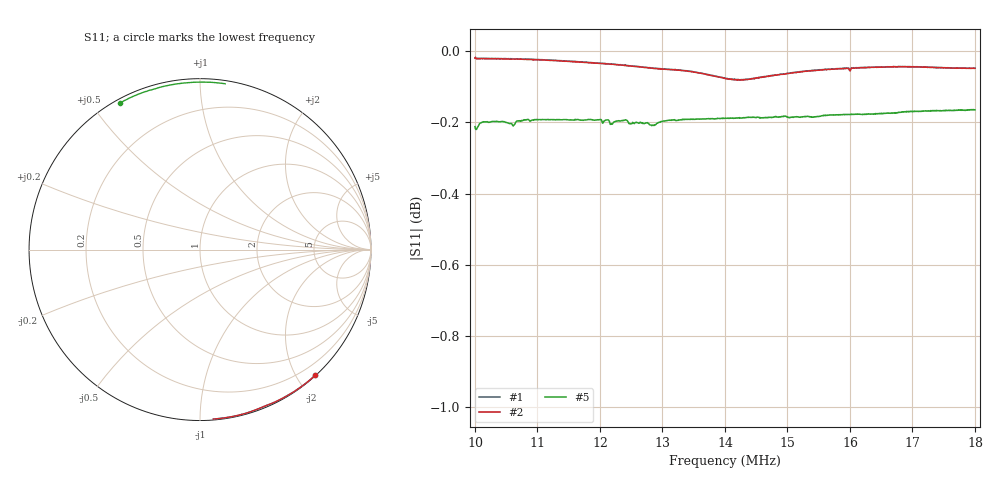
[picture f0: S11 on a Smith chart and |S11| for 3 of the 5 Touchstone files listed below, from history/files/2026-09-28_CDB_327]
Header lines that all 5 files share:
! NanoVNA Web complex sweep
! Processing: unaveraged complex samples; linear segment spacing; no smoothing
# Hz S RI R 50
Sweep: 10 MHz to 18 MHz
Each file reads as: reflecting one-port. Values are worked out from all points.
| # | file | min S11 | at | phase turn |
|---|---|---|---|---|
| 1 | 2026-09-29_CAPFREE_218_CD_10-18M_s1_nanovna-sweep-1790707894813.s1p | -0.1 dB | 14.24 MHz | -38 deg |
| 2 | 2026-09-29_CAPFREE_218_CD_10-18M_s2_nanovna-sweep-1790707910714.s1p | -0.1 dB | 14.19 MHz | -38 deg |
| 3 | 2026-09-29_CAPFREE_218_CD_10-18M_s3_nanovna-sweep-1790707921755.s1p | -0.1 dB | 14.19 MHz | -38 deg |
| 4 | 2026-09-29_CAPFREE_218_CD_nocube_10-18M_nanovna-sweep-1790707977113.s1p | -0.1 dB | 14.24 MHz | -38 deg |
| 5 | shorted_primary_lugs_nanovna-sweep-1790711420796.s1p | -0.2 dB | 10.02 MHz | -37 deg |
